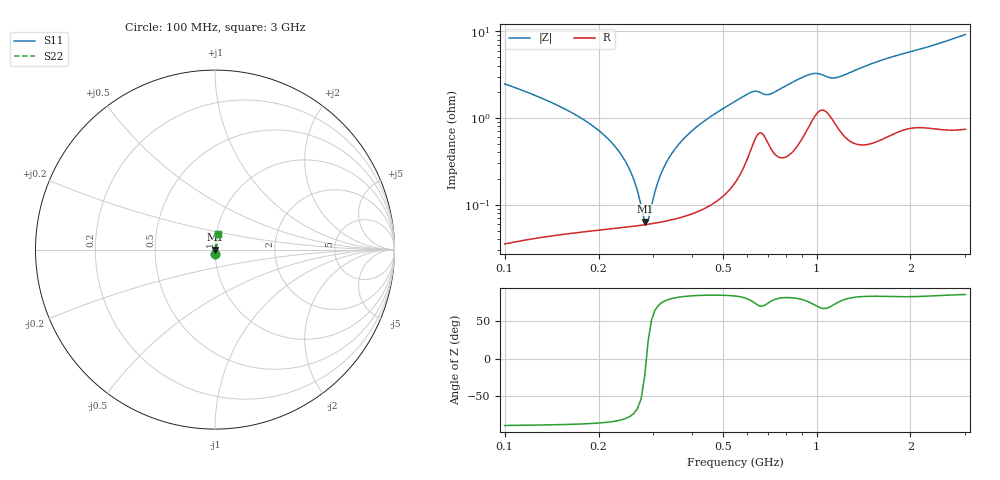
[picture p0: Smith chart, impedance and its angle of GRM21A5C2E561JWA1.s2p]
!Murata Part Number: GRM21A5C2E561JWA1
!These Parameters are Measured in Series Mode Connection
!Data Generated on Mar 30, 2021
!  o--ll--o
!Port1  Port2
!  o------o
!Operation Temp=25[degC], DC Bias Voltage=0[V]
!Freq. Start=100[MHz] Stop=3[GHz] 401[Steps]
# Hz S RI R 50
!Freq.(Hz) S11(Real) S11(Imag) S21(Real) S21(Imag) S12(Real) S12(Imag) S22(Real) S22(Imag)
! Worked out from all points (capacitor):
!   401 points, 100 MHz to 3 GHz, reference 50 ohm
!   read as one part in series: C = 563 pF near 114.5 MHz
!   lowest |Z| = 63.8 mohm at 281.2 MHz (marker M1)
!   series resonance near 284.8 MHz, so ESL is about 550 pH
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1e8  0.000965 -0.0248  0.999 0.0248  0.999 0.0248  0.000965 -0.0248
1.7975e8  0.000575 -0.00948  0.9994 0.00948  0.9994 0.00948  0.000575 -0.00948
2.2325e8  0.000552 -0.00491  0.9994 0.00491  0.9994 0.00491  0.000552 -0.00491
2.45e8  0.000558 -0.00303  0.9994 0.00303  0.9994 0.00303  0.000558 -0.00303
2.74e8  0.000578 -0.000779  0.9994 0.000779  0.9994 0.000779  0.000578 -0.000779
2.8125e8  0.000585 -0.000254  0.9994 0.000254  0.9994 0.000254  0.000585 -0.000254
2.885e8  0.000593 0.000258  0.9994 -0.000258  0.9994 -0.000258  0.000593 0.000258
2.9575e8  0.000602 0.000759  0.9994 -0.000759  0.9994 -0.000759  0.000602 0.000759
3.175e8  0.000634 0.0022  0.9994 -0.0022  0.9994 -0.0022  0.000634 0.0022
3.32e8  0.00066 0.00312  0.9993 -0.00312  0.9993 -0.00312  0.00066 0.00312
3.755e8  0.000761 0.00573  0.9992 -0.00573  0.9992 -0.00573  0.000761 0.00573
4.5525e8  0.00108 0.0102  0.9989 -0.0102  0.9989 -0.0102  0.00108 0.0102
5.8575e8  0.00305 0.0176  0.9969 -0.0176  0.9969 -0.0176  0.00305 0.0176
6.365e8  0.00613 0.0193  0.9939 -0.0193  0.9939 -0.0193  0.00613 0.0193
7.09e8  0.00494 0.0181  0.9951 -0.0181  0.9951 -0.0181  0.00494 0.0181
9.555e8  0.00942 0.0303  0.9906 -0.0303  0.9906 -0.0303  0.00942 0.0303
1.0715e9  0.0125 0.0271  0.9875 -0.0271  0.9875 -0.0271  0.0125 0.0271
1.16575e9  0.00854 0.0279  0.9915 -0.0279  0.9915 -0.0279  0.00854 0.0279
1.55e9  0.00714 0.0432  0.9929 -0.0432  0.9929 -0.0432  0.00714 0.0432
2.03575e9  0.011 0.0577  0.989 -0.0577  0.989 -0.0577  0.011 0.0577
2.5215e9  0.0126 0.0725  0.9874 -0.0725  0.9874 -0.0725  0.0126 0.0725
3e9  0.0155 0.0897  0.9845 -0.0897  0.9845 -0.0897  0.0155 0.0897
